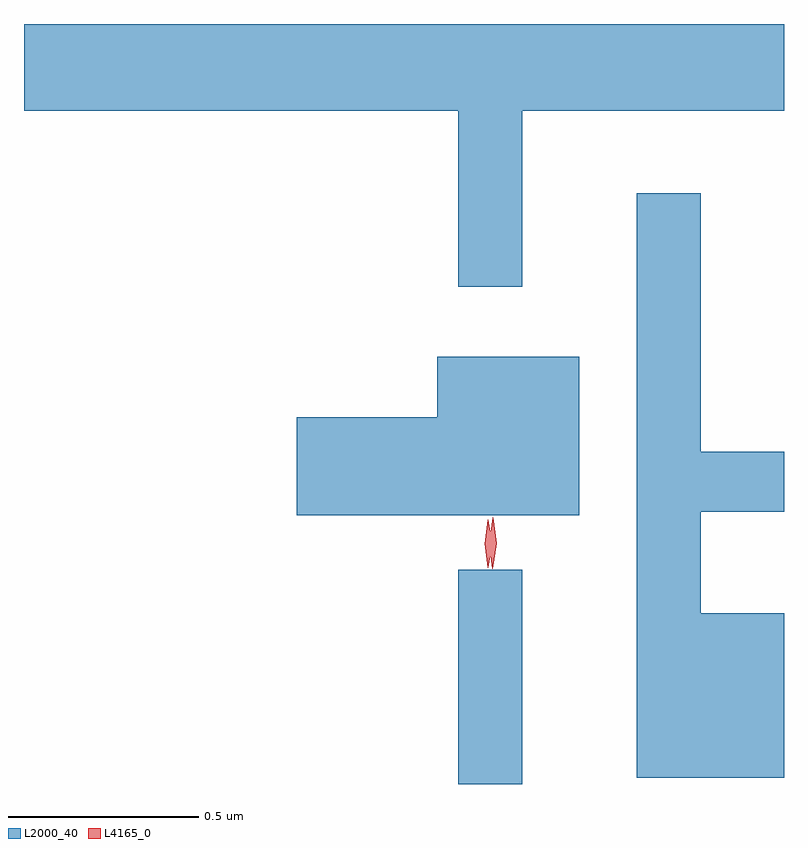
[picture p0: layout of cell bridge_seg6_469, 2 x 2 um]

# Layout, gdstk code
import gdstk
lib = gdstk.Library(unit=1e-6, precision=1e-09)
def R(c, l, rs):  # rectangles x0, y0, x1, y1
    for r in rs: c.add(gdstk.rectangle(r[:2], r[2:], *l))
def P(c, l, *ps):  # polygons
    for p in ps: c.add(gdstk.Polygon(p, *l))
L2000_40 = (2000, 40)
L4165_0 = (4165, 0)

bridge_seg6_469 = lib.new_cell('bridge_seg6_469')
R(bridge_seg6_469, L2000_40, [(783.671,1643.724,783.839,1644.288)])
P(bridge_seg6_469, L2000_40, [(783.839,1645.496),(784.528,1645.496),(784.528,1645.724),(782.528,1645.724),(782.528,1645.496),(783.671,1645.496),(783.671,1645.033),(783.839,1645.033)],
  [(784.528,1644.174),(784.309,1644.174),(784.309,1644.441),(784.528,1644.441),(784.528,1644.599),(784.309,1644.599),(784.309,1645.278),(784.141,1645.278),(784.141,1643.741),(784.528,1643.741)],
  [(783.989,1644.849),(783.616,1644.849),(783.616,1644.689),(783.246,1644.689),(783.246,1644.431),(783.989,1644.431)])
P(bridge_seg6_469, L4165_0, [(783.749,1644.293),(783.74,1644.356),(783.749,1644.419),(783.749,1644.42),(783.75,1644.419),(783.76,1644.356),(783.75,1644.293),(783.75,1644.293)],
  [(783.76,1644.29),(783.752,1644.358),(783.762,1644.425),(783.762,1644.426),(783.763,1644.425),(783.772,1644.358),(783.762,1644.29),(783.761,1644.29)])

lib.write_gds('bridge_seg6_469.gds')
